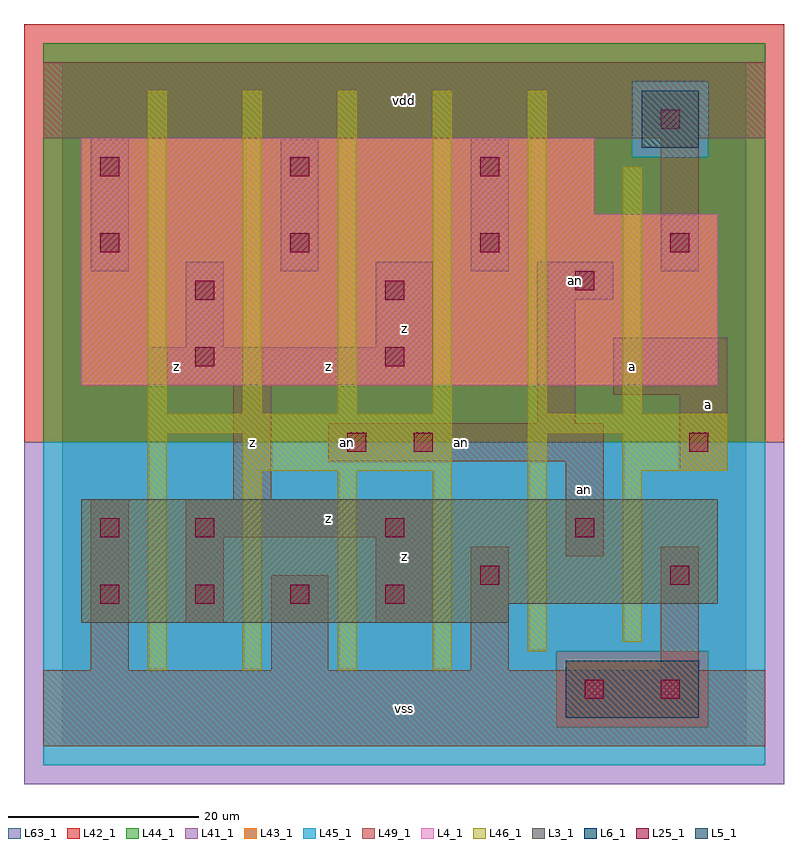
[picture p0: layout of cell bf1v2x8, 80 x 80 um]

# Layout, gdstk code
import gdstk
lib = gdstk.Library(unit=1e-6, precision=1e-09)
def R(c, l, rs):  # rectangles x0, y0, x1, y1
    for r in rs: c.add(gdstk.rectangle(r[:2], r[2:], *l))
def A(c, l, x, y, w, h, nx, ny, dx, dy):  # array of equal rectangles
    R(c, l, [(x+i*dx, y+j*dy, x+i*dx+w, y+j*dy+h) for i in range(nx) for j in range(ny)])
L3_1 = (3, 1)
L4_1 = (4, 1)
L5_1 = (5, 1)
L6_1 = (6, 1)
L25_1 = (25, 1)
L41_1 = (41, 1)
L42_1 = (42, 1)
L43_1 = (43, 1)
L44_1 = (44, 1)
L45_1 = (45, 1)
L46_1 = (46, 1)
L49_1 = (49, 1)
L63_1 = (63, 1)

bf1v2x8 = lib.new_cell('bf1v2x8')
R(bf1v2x8, L3_1, [(2,13,47,15), (2,15,69,26)])
R(bf1v2x8, L4_1, [(2,38,69,56), (2,56,56,64)])
R(bf1v2x8, L5_1, [(61,63,67,69)])
R(bf1v2x8, L6_1, [(53,3,67,9), (53,3,67,9)])
A(bf1v2x8, L25_1, 4, 15, 2, 2, 4, 1, 10, 0)
A(bf1v2x8, L25_1, 14, 22, 2, 2, 3, 1, 20, 0)
A(bf1v2x8, L25_1, 4, 52, 2, 2, 4, 1, 20, 0)
A(bf1v2x8, L25_1, 4, 60, 2, 2, 3, 1, 20, 0)
R(bf1v2x8, L25_1, [(55,5,57,7), (63,5,65,7), (44,17,46,19), (64,17,66,19), (4,22,6,24), (30,31,32,33), (37,31,39,33), (66,31,68,33), (14,40,16,42), (34,40,36,42), (14,47,16,49), (34,47,36,49), (54,48,56,50), (63,65,65,67)])
R(bf1v2x8, L41_1, [(-4,-4,76,32)])
R(bf1v2x8, L42_1, [(-4,32,76,76)])
R(bf1v2x8, L43_1, [(53,3,67,9), (2,13,47,15), (2,15,69,26), (2,38,69,56), (2,56,56,64), (61,63,67,69)])
R(bf1v2x8, L44_1, [(52,2,68,10), (-2,32,74,62), (-2,62,60,70), (68,62,74,70), (-2,70,74,74)])
R(bf1v2x8, L45_1, [(-2,-2,74,2), (-2,2,52,10), (68,2,74,10), (-2,10,74,32), (60,62,68,70)])
A(bf1v2x8, L46_1, 19, 8, 2, 21, 3, 1, 10, 0)
A(bf1v2x8, L46_1, 9, 35, 2, 34, 5, 1, 10, 0)
R(bf1v2x8, L46_1, [(9,8,11,33), (49,10,51,33), (59,11,61,29), (19,29,41,33), (59,29,70,33), (9,33,41,35), (49,33,70,35), (59,35,61,61)])
A(bf1v2x8, L49_1, 3, 50, 4, 14, 4, 1, 20, 0)
R(bf1v2x8, L49_1, [(-2,0,74,8), (3,8,7,26), (22,8,28,18), (43,8,47,21), (63,8,67,21), (13,13,17,22), (33,13,39,22), (53,20,57,30), (13,22,39,26), (18,26,22,38), (65,29,70,37), (28,30,57,34), (50,34,54,47), (58,37,70,43), (9,38,39,42), (13,42,17,51), (33,42,39,51), (50,47,58,51), (-2,64,74,72)])
R(bf1v2x8, L63_1, [(0,0,72,72)])
bf1v2x8.add(gdstk.Label('an', (30,32), layer=49, texttype=1))
bf1v2x8.add(gdstk.Label('z', (12,40), layer=49, texttype=1))
bf1v2x8.add(gdstk.Label('z', (20,32), layer=49, texttype=1))
bf1v2x8.add(gdstk.Label('z', (28,24), layer=49, texttype=1))
bf1v2x8.add(gdstk.Label('z', (28,40), layer=49, texttype=1))
bf1v2x8.add(gdstk.Label('vss', (36,4), layer=49, texttype=1))
bf1v2x8.add(gdstk.Label('z', (36,20), layer=49, texttype=1))
bf1v2x8.add(gdstk.Label('z', (36,44), layer=49, texttype=1))
bf1v2x8.add(gdstk.Label('vdd', (36,68), layer=49, texttype=1))
bf1v2x8.add(gdstk.Label('an', (55,27), layer=49, texttype=1))
bf1v2x8.add(gdstk.Label('an', (42,32), layer=49, texttype=1))
bf1v2x8.add(gdstk.Label('a', (60,40), layer=49, texttype=1))
bf1v2x8.add(gdstk.Label('a', (68,36), layer=49, texttype=1))
bf1v2x8.add(gdstk.Label('an', (54,49), layer=49, texttype=1))

lib.write_gds('bf1v2x8.gds')
